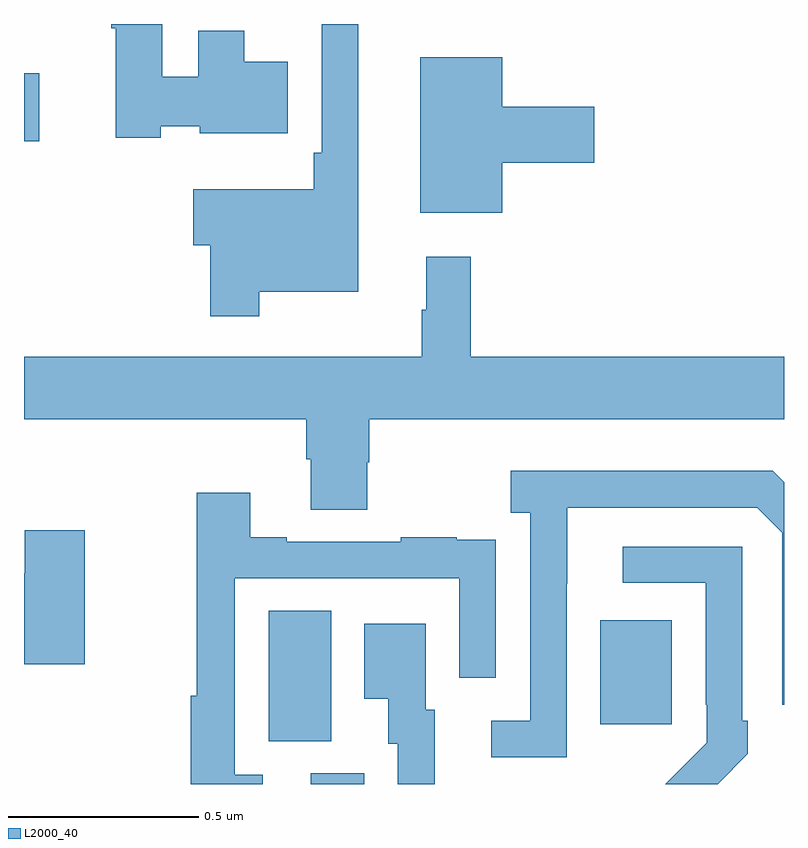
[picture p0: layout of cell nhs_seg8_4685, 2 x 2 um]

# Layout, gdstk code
import gdstk
lib = gdstk.Library(unit=1e-6, precision=1e-09)
def R(c, l, rs):  # rectangles x0, y0, x1, y1
    for r in rs: c.add(gdstk.rectangle(r[:2], r[2:], *l))
def P(c, l, *ps):  # polygons
    for p in ps: c.add(gdstk.Polygon(p, *l))
L2000_40 = (2000, 40)

nhs_seg8_4685 = lib.new_cell('nhs_seg8_4685')
R(nhs_seg8_4685, L2000_40, [(174.755,1088.9,174.895,1088.928), (174.644,1089.013,174.808,1089.356), (175.517,1089.057,175.705,1089.331), (174,1090.592,174.04,1090.77)])
P(nhs_seg8_4685, L2000_40, [(174.36,1090.631),(174.462,1090.631),(174.462,1090.613),(174.694,1090.613),(174.694,1090.801),(174.58,1090.801),(174.58,1090.882),(174.458,1090.882),(174.458,1090.761),(174.364,1090.761),(174.364,1090.9),(174.23,1090.9),(174.23,1090.889),(174.242,1090.889),(174.242,1090.601),(174.36,1090.601)],
  [(174.619,1090.196),(174.88,1090.196),(174.88,1090.9),(174.783,1090.9),(174.783,1090.561),(174.763,1090.561),(174.763,1090.465),(174.446,1090.465),(174.446,1090.318),(174.49,1090.318),(174.49,1090.131),(174.619,1090.131)],
  [(175.258,1090.535),(175.501,1090.535),(175.501,1090.682),(175.258,1090.682),(175.258,1090.813),(175.043,1090.813),(175.043,1090.403),(175.258,1090.403)],
  [(174,1089.86),(174.743,1089.86),(174.743,1089.754),(174.755,1089.754),(174.755,1089.622),(174.903,1089.622),(174.903,1089.747),(174.908,1089.747),(174.908,1089.86),(176,1089.86),(176,1090.024),(175.175,1090.024),(175.175,1090.288),(175.058,1090.288),(175.058,1090.148),(175.047,1090.148),(175.047,1090.024),(174,1090.024)],
  [(175.428,1089.427),(175.429,1089.427),(175.429,1089.627),(175.929,1089.627),(175.995,1089.561),(175.995,1089.108),(176,1089.108),(176,1089.694),(175.97,1089.724),(175.281,1089.724),(175.281,1089.614),(175.332,1089.614),(175.332,1089.066),(175.23,1089.066),(175.23,1088.97),(175.428,1088.97)],
  [(174.628,1088.925),(174.555,1088.925),(174.555,1089.441),(175.146,1089.441),(175.146,1089.18),(175.242,1089.18),(175.242,1089.434),(175.241,1089.434),(175.241,1089.543),(175.139,1089.543),(175.139,1089.55),(174.991,1089.55),(174.991,1089.537),(174.691,1089.537),(174.691,1089.55),(174.595,1089.55),(174.595,1089.667),(174.454,1089.667),(174.454,1089.132),(174.439,1089.132),(174.439,1088.9),(174.628,1088.9)],
  [(174.16,1089.568),(174.002,1089.568),(174.002,1089.454),(174,1089.454),(174,1089.215),(174.16,1089.215)],
  [(175.905,1088.979),(175.905,1089.067),(175.89,1089.067),(175.89,1089.525),(175.575,1089.525),(175.575,1089.429),(175.794,1089.429),(175.794,1089.109),(175.797,1089.109),(175.797,1089.009),(175.688,1088.9),(175.826,1088.9)],
  [(175.081,1089.096),(175.057,1089.096),(175.057,1089.322),(174.896,1089.322),(174.896,1089.125),(174.959,1089.125),(174.959,1089.006),(174.984,1089.006),(174.984,1088.9),(175.081,1088.9)])

lib.write_gds('nhs_seg8_4685.gds')
